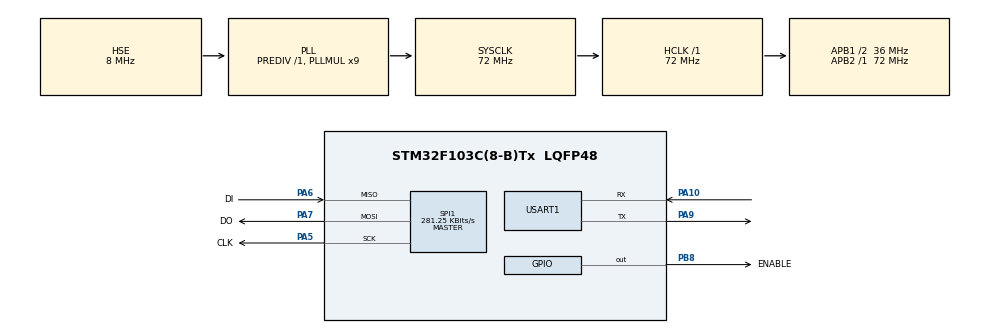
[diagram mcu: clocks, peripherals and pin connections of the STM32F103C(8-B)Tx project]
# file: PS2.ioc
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Mcu.Family=STM32F1
Mcu.Name=STM32F103C(8-B)Tx
Mcu.Package=LQFP48
NVIC.PriorityGroup=NVIC_PRIORITYGROUP_4
NVIC.USART1_IRQn=true\:0\:0\:false\:false\:true\:true\:true\:true
PA10.Mode=Asynchronous
PA10.Signal=USART1_RX
PA13.Mode=Serial_Wire
PA13.Signal=SYS_JTMS-SWDIO
PA14.Mode=Serial_Wire
PA14.Signal=SYS_JTCK-SWCLK
PA5.GPIO_Label=CLK
PA5.Mode=Full_Duplex_Master
PA5.Signal=SPI1_SCK
PA6.GPIO_Label=DI
PA6.Mode=Full_Duplex_Master
PA6.Signal=SPI1_MISO
PA7.GPIO_Label=DO
PA7.Mode=Full_Duplex_Master
PA7.Signal=SPI1_MOSI
PA9.Mode=Asynchronous
PA9.Signal=USART1_TX
PB8.GPIO_Label=ENABLE
PB8.Signal=GPIO_Output
PD0-OSC_IN.Mode=HSE-External-Oscillator
PD0-OSC_IN.Signal=RCC_OSC_IN
PD1-OSC_OUT.Mode=HSE-External-Oscillator
PD1-OSC_OUT.Signal=RCC_OSC_OUT
ProjectManager.HeapSize=0x200
ProjectManager.StackSize=0x400
ProjectManager.TargetToolchain=MDK-ARM V5.32
RCC.AHBFreq_Value=72000000
RCC.APB1CLKDivider=RCC_HCLK_DIV2
RCC.APB1Freq_Value=36000000
RCC.APB1TimFreq_Value=72000000
RCC.APB2Freq_Value=72000000
RCC.APB2TimFreq_Value=72000000
RCC.HCLKFreq_Value=72000000
RCC.PLLMUL=RCC_PLL_MUL9
RCC.PLLSourceVirtual=RCC_PLLSOURCE_HSE
RCC.SYSCLKFreq_VALUE=72000000
RCC.SYSCLKSource=RCC_SYSCLKSOURCE_PLLCLK
RCC.USBFreq_Value=72000000
SPI1.BaudRatePrescaler=SPI_BAUDRATEPRESCALER_256
SPI1.CLKPolarity=SPI_POLARITY_HIGH
SPI1.CalculateBaudRate=281.25 KBits/s
SPI1.Direction=SPI_DIRECTION_2LINES
SPI1.FirstBit=SPI_FIRSTBIT_LSB
SPI1.Mode=SPI_MODE_MASTER
SPI1.VirtualType=VM_MASTER
USART1.VirtualMode=VM_ASYNC
board=custom

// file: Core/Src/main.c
/* USER CODE BEGIN Header */
/**
  ******************************************************************************
  * @file           : main.c
  * @brief          : Main program body
  ******************************************************************************
  * @attention
  *
  * Copyright (c) 2024 STMicroelectronics.
  * All rights reserved.
  *
  * This software is licensed under terms that can be found in the LICENSE file
  * in the root directory of this software component.
  * If no LICENSE file comes with this software, it is provided AS-IS.
  *
  ******************************************************************************
  */
/* USER CODE END Header */
#include "main.h"
#include "spi.h"
#include "usart.h"
#include "gpio.h"

/* USER CODE BEGIN Includes */
#include "stdio.h"
#include "PS2.h"
uint8_t test[]= {0x01,0x42};
uint8_t data[] = {0x00};
extern uint8_t PS2data[];
//extern uint8_t but;
extern uint16_t XY[4];
extern uint8_t All_But[];
uint8_t i1;

uint8_t rxBuffer[10]; // 假设我们要接收10个字节
/* USER CODE END Includes */

void SystemClock_Config(void);

int main(void)
{

  /* MCU Configuration--------------------------------------------------------*/

  /* Reset of all peripherals, Initializes the Flash interface and the Systick. */
  HAL_Init();

  /* Configure the system clock */
  SystemClock_Config();

  /* Initialize all configured peripherals */
  MX_GPIO_Init();
  MX_SPI1_Init();
  MX_USART1_UART_Init();
  /* USER CODE BEGIN 2 */
//	HAL_SPI_Receive_IT(&hspi1, rxBuffer, 10);
  /* USER CODE END 2 */

  /* Infinite loop */
  while (1)
  {

    /* USER CODE BEGIN 3 */
		GetData();
		printf("%d,%d,%d,%d\r\n",XY[2],XY[3],XY[0],XY[1]);
		for(i1 = 0;i1 < 16;i1++)
		{
			if(All_But[i1])
			{
				switch(i1)
				{
					case(0): printf(" Left");break;
					case(1): printf(" Down");break;
					case(2): printf(" Right");break;
					case(3): printf(" Up");break;
					case(4): printf(" Start");break;
					case(5): printf(" Select");break;
					case(6): printf(" Left");break;
					case(7): printf(" Select");break;
					case(8): printf(" Square");break;
					case(9): printf(" Cross");break;
					case(10): printf(" Circle");break;
					case(11): printf(" Triangle");break;
					case(12): printf(" R1");break;
					case(13): printf(" L1");break;
					case(14): printf(" R2");break;
					case(15): printf(" L2");break;
				}

			}

		}
		printf("被按下\n");
		HAL_Delay(50);

  }
  /* USER CODE END 3 */
}

void SystemClock_Config(void)
{
  RCC_OscInitTypeDef RCC_OscInitStruct = {0};
  RCC_ClkInitTypeDef RCC_ClkInitStruct = {0};

  /** Initializes the RCC Oscillators according to the specified parameters
  * in the RCC_OscInitTypeDef structure.
  */
  RCC_OscInitStruct.OscillatorType = RCC_OSCILLATORTYPE_HSE;
  RCC_OscInitStruct.HSEState = RCC_HSE_ON;
  RCC_OscInitStruct.HSEPredivValue = RCC_HSE_PREDIV_DIV1;
  RCC_OscInitStruct.HSIState = RCC_HSI_ON;
  RCC_OscInitStruct.PLL.PLLState = RCC_PLL_ON;
  RCC_OscInitStruct.PLL.PLLSource = RCC_PLLSOURCE_HSE;
  RCC_OscInitStruct.PLL.PLLMUL = RCC_PLL_MUL9;
  if (HAL_RCC_OscConfig(&RCC_OscInitStruct) != HAL_OK)
  {
    Error_Handler();
  }

  /** Initializes the CPU, AHB and APB buses clocks
  */
  RCC_ClkInitStruct.ClockType = RCC_CLOCKTYPE_HCLK|RCC_CLOCKTYPE_SYSCLK
                              |RCC_CLOCKTYPE_PCLK1|RCC_CLOCKTYPE_PCLK2;
  RCC_ClkInitStruct.SYSCLKSource = RCC_SYSCLKSOURCE_PLLCLK;
  RCC_ClkInitStruct.AHBCLKDivider = RCC_SYSCLK_DIV1;
  RCC_ClkInitStruct.APB1CLKDivider = RCC_HCLK_DIV2;
  RCC_ClkInitStruct.APB2CLKDivider = RCC_HCLK_DIV1;

  if (HAL_RCC_ClockConfig(&RCC_ClkInitStruct, FLASH_LATENCY_2) != HAL_OK)
  {
    Error_Handler();
  }
}

void Error_Handler(void)
{
  __disable_irq();
  while (1)
  {
  }
}
